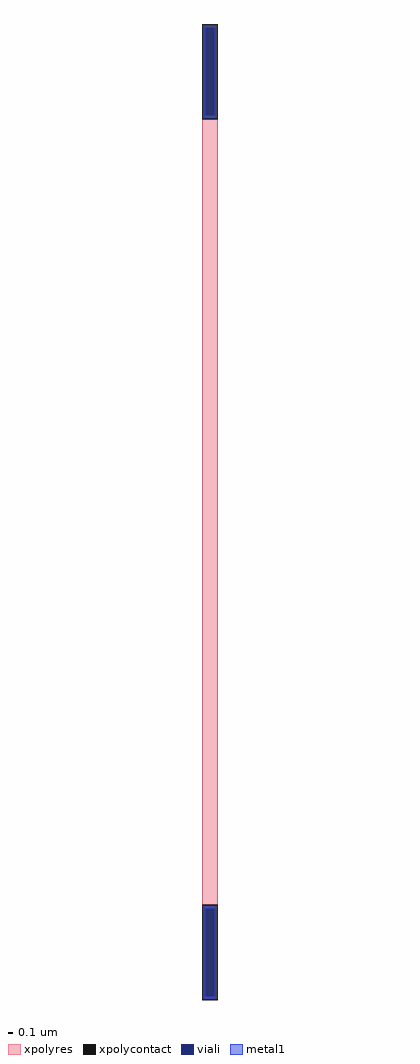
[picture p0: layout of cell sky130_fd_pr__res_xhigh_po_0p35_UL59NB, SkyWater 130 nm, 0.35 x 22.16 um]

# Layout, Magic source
magic
tech sky130A
magscale 1 2
<< xpolycontact >>
rect -35 1784 35 2216
rect -35 -2216 35 -1784
<< xpolyres >>
rect -35 -1784 35 1784
<< viali >>
rect -19 1801 19 2198
rect -19 -2198 19 -1801
<< metal1 >>
rect -25 2198 25 2210
rect -25 1801 -19 2198
rect 19 1801 25 2198
rect -25 1789 25 1801
rect -25 -1801 25 -1789
rect -25 -2198 -19 -1801
rect 19 -2198 25 -1801
rect -25 -2210 25 -2198
<< properties >>
string gencell sky130_fd_pr__res_xhigh_po_0p35
string library sky130
string parameters w 0.350 l 18 m 1 nx 1 wmin 0.350 lmin 0.50 rho 2000 val 103.932k dummy 0 dw 0.0 term 188.2 sterm 0.0 caplen 0 wmax 0.350 guard 0 glc 0 grc 0 gtc 1 gbc 1 compatible {sky130_fd_pr__res_xhigh_po_0p35  sky130_fd_pr__res_xhigh_po_0p69 sky130_fd_pr__res_xhigh_po_1p41  sky130_fd_pr__res_xhigh_po_2p85 sky130_fd_pr__res_xhigh_po_5p73} snake 0 full_metal 1 n_guard 0 hv_guard 0 vias 1 viagb 0 viagt 0 viagl 0 viagr 0
<< end >>
